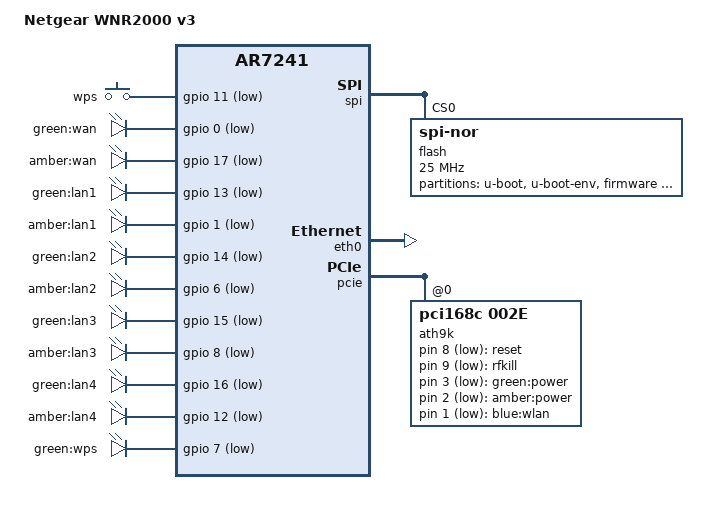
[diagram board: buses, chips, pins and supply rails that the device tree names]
// SPDX-License-Identifier: GPL-2.0-or-later OR MIT

#include "ar7241.dtsi"

#include <dt-bindings/gpio/gpio.h>
#include <dt-bindings/input/input.h>
#include <dt-bindings/mtd/partitions/uimage.h>

/ {
	compatible = "netgear,wnr2000-v3", "qca,ar7241";
	model = "Netgear WNR2000 v3";

	chosen {
		bootargs = "console=ttyS0,115200n8";
	};

	aliases {
		led-boot = &led_power_amber;
		led-failsafe = &led_power_amber;
		led-running = &led_power_green;
		led-upgrade = &led_power_amber;
		label-mac-device = &eth1;
	};

	keys {
		compatible = "gpio-keys";

		wps {
			label = "wps";
			linux,code = <KEY_WPS_BUTTON>;
			gpios = <&gpio 11 GPIO_ACTIVE_LOW>;
		};
	};

	ath9k-keys {
		compatible = "gpio-keys-polled";
		poll-interval = <20>;

		reset {
			label = "reset";
			linux,code = <KEY_RESTART>;
			gpios = <&ath9k 8 GPIO_ACTIVE_LOW>;
			debounce-interval = <60>;
		};

		rfkill {
			label = "rfkill";
			linux,code = <KEY_RFKILL>;
			gpios = <&ath9k 9 GPIO_ACTIVE_LOW>;
			debounce-interval = <60>;
		};
	};

	leds {
		compatible = "gpio-leds";

		pinctrl-names = "default";
		pinctrl-0 = <&jtag_disable_pins &switch_led_disable_pins &clks_disable_pins>;

		wan_green {
			label = "green:wan";
			gpios = <&gpio 0 GPIO_ACTIVE_LOW>;
		};

		wan_amber {
			label = "amber:wan";
			gpios = <&gpio 17 GPIO_ACTIVE_LOW>;
		};

		lan1_green {
			label = "green:lan1";
			gpios = <&gpio 13 GPIO_ACTIVE_LOW>;
		};

		lan1_amber {
			label = "amber:lan1";
			gpios = <&gpio 1 GPIO_ACTIVE_LOW>;
		};

		lan2_green {
			label = "green:lan2";
			gpios = <&gpio 14 GPIO_ACTIVE_LOW>;
		};

		lan2_amber {
			label = "amber:lan2";
			gpios = <&gpio 6 GPIO_ACTIVE_LOW>;
		};

		lan3_green {
			label = "green:lan3";
			gpios = <&gpio 15 GPIO_ACTIVE_LOW>;
		};

		lan3_amber {
			label = "amber:lan3";
			gpios = <&gpio 8 GPIO_ACTIVE_LOW>;
		};

		lan4_green {
			label = "green:lan4";
			gpios = <&gpio 16 GPIO_ACTIVE_LOW>;
		};

		lan4_amber {
			label = "amber:lan4";
			gpios = <&gpio 12 GPIO_ACTIVE_LOW>;
		};

		wps_green {
			label = "green:wps";
			gpios = <&gpio 7 GPIO_ACTIVE_LOW>;
		};
	};

	ath9k-leds {
		compatible = "gpio-leds";

		led_power_green: power_green {
			label = "green:power";
			gpios = <&ath9k 3 GPIO_ACTIVE_LOW>;
		};

		led_power_amber: power_amber {
			label = "amber:power";
			gpios = <&ath9k 2 GPIO_ACTIVE_LOW>;
			default-state = "keep";
		};

		wlan_blue {
			label = "blue:wlan";
			gpios = <&ath9k 1 GPIO_ACTIVE_LOW>;
			linux,default-trigger = "phy0tpt";
		};
	};
};

&spi {
	status = "okay";

	flash@0 {
		compatible = "jedec,spi-nor";
		reg = <0>;
		spi-max-frequency = <25000000>;

		partitions {
			compatible = "fixed-partitions";
			#address-cells = <1>;
			#size-cells = <1>;

			partition@0 {
				label = "u-boot";
				reg = <0x0 0x40000>;
				read-only;
			};

			partition@40000 {
				label = "u-boot-env";
				reg = <0x40000 0x10000>;
			};

			partition@50000 {
				label = "firmware";
				reg = <0x50000 0x3a0000>;
				compatible = "openwrt,uimage", "denx,uimage";
				openwrt,ih-magic = <0x32303033>;
				openwrt,ih-type = <IH_TYPE_FILESYSTEM>;
			};

			art: partition@3f0000 {
				label = "art";
				reg = <0x3f0000 0x10000>;
				read-only;
			};
		};
	};
};

&eth0 {
	status = "okay";

	nvmem-cells = <&macaddr_art_0>;
	nvmem-cell-names = "mac-address";
};

&eth1 {
	compatible = "qca,ar7241-eth", "syscon", "simple-mfd";

	nvmem-cells = <&macaddr_art_6>;
	nvmem-cell-names = "mac-address";
};

&pcie {
	status = "okay";

	ath9k: wifi@0,0 {
		compatible = "pci168c,002e";
		reg = <0x0000 0 0 0 0>;
		nvmem-cells = <&macaddr_art_0>;
		nvmem-cell-names = "mac-address";
		mac-address-increment = <1>;
		qca,no-eeprom;
		#gpio-cells = <2>;
		gpio-controller;
	};
};

&art {
	compatible = "nvmem-cells";
	#address-cells = <1>;
	#size-cells = <1>;

	macaddr_art_0: macaddr@0 {
		reg = <0x0 0x6>;
	};

	macaddr_art_6: macaddr@6 {
		reg = <0x6 0x6>;
	};
};
